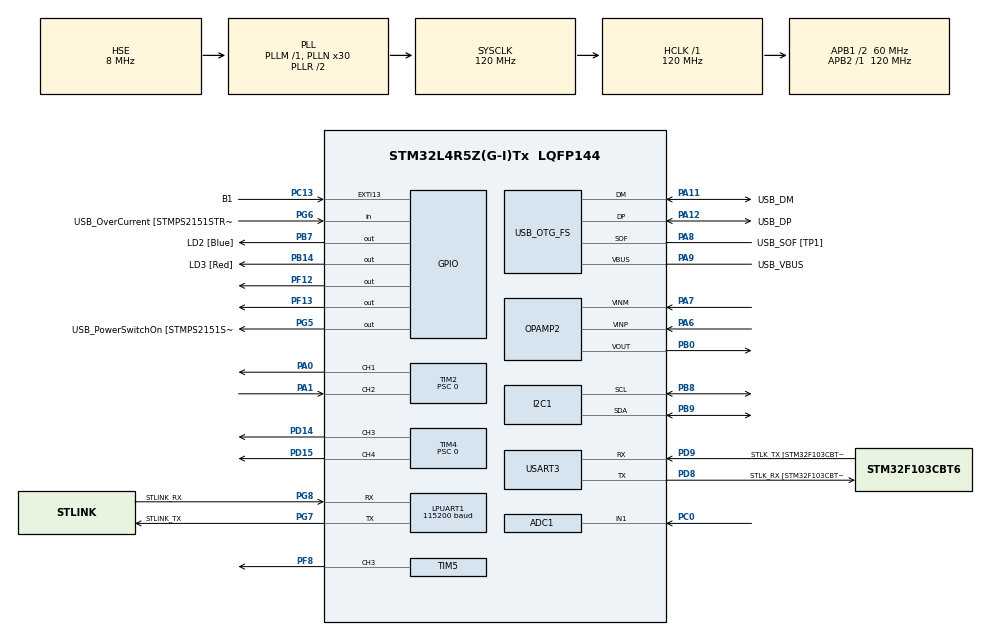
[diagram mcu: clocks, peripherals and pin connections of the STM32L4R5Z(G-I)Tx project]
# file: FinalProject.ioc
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ADC1.Channel-4\#ChannelRegularConversion=ADC_CHANNEL_1
ADC1.ClockPrescaler=ADC_CLOCK_ASYNC_DIV128
ADC1.ContinuousConvMode=DISABLE
ADC1.NbrOfConversionFlag=1
ADC1.OffsetNumber-4\#ChannelRegularConversion=ADC_OFFSET_NONE
ADC1.Rank-4\#ChannelRegularConversion=1
ADC1.SamplingTime-4\#ChannelRegularConversion=ADC_SAMPLETIME_12CYCLES_5
ADC1.master=1
Dma.ADC1.0.Direction=DMA_PERIPH_TO_MEMORY
Dma.ADC1.0.EventEnable=DISABLE
Dma.ADC1.0.Instance=DMA1_Channel1
Dma.ADC1.0.MemDataAlignment=DMA_MDATAALIGN_WORD
Dma.ADC1.0.MemInc=DMA_MINC_ENABLE
Dma.ADC1.0.Mode=DMA_CIRCULAR
Dma.ADC1.0.PeriphDataAlignment=DMA_PDATAALIGN_WORD
Dma.ADC1.0.PeriphInc=DMA_PINC_DISABLE
Dma.ADC1.0.Polarity=HAL_DMAMUX_REQUEST_GEN_RISING
Dma.ADC1.0.Priority=DMA_PRIORITY_LOW
Dma.ADC1.0.RequestNumber=1
Dma.ADC1.0.SignalID=NONE
Dma.ADC1.0.SyncEnable=DISABLE
Dma.ADC1.0.SyncPolarity=HAL_DMAMUX_SYNC_NO_EVENT
Dma.ADC1.0.SyncRequestNumber=1
Dma.ADC1.0.SyncSignalID=NONE
Dma.Request0=ADC1
I2C1.Timing=0x107075B0
LPUART1.BaudRate=115200
LPUART1.WordLength=UART_WORDLENGTH_8B
Mcu.Family=STM32L4
Mcu.Name=STM32L4R5Z(G-I)Tx
Mcu.Package=LQFP144
NVIC.DMA1_Channel1_IRQn=true\:0\:0\:false\:false\:true\:false\:true
NVIC.PriorityGroup=NVIC_PRIORITYGROUP_4
NVIC.TIM2_IRQn=true\:1\:0\:true\:false\:true\:true\:true
OPAMP2.PowerSupplyRange=OPAMP_POWERSUPPLY_HIGH
PA0.Signal=S_TIM2_CH1
PA1.Signal=S_TIM2_CH2
PA10.GPIO_Label=USB_ID
PA10.Signal=USB_OTG_FS_ID
PA11.GPIO_Label=USB_DM
PA11.Mode=Device_Only
PA11.Signal=USB_OTG_FS_DM
PA12.GPIO_Label=USB_DP
PA12.Mode=Device_Only
PA12.Signal=USB_OTG_FS_DP
PA13\ (JTMS/SWDIO).GPIO_Label=TMS
PA13\ (JTMS/SWDIO).Mode=Trace_Asynchronous_SW
PA13\ (JTMS/SWDIO).Signal=SYS_JTMS-SWDIO
PA14\ (JTCK/SWCLK).GPIO_Label=TCK
PA14\ (JTCK/SWCLK).Mode=Trace_Asynchronous_SW
PA14\ (JTCK/SWCLK).Signal=SYS_JTCK-SWCLK
PA6.Mode=Standalone
PA6.Signal=OPAMP2_VINP
PA7.Mode=Standalone
PA7.Signal=OPAMP2_VINM
PA8.GPIO_Label=USB_SOF [TP1]
PA8.Mode=Activate_SOF_FS
PA8.Signal=USB_OTG_FS_SOF
PA9.GPIO_Label=USB_VBUS
PA9.Mode=Activate_VBUS
PA9.Signal=USB_OTG_FS_VBUS
PB0.Mode=Standalone
PB0.Signal=OPAMP2_VOUT
PB10.Signal=S_TIM2_CH3
PB14.GPIO_Label=LD3 [Red]
PB14.Signal=GPIO_Output
PB3\ (JTDO/TRACESWO).GPIO_Label=SWO
PB3\ (JTDO/TRACESWO).Mode=Trace_Asynchronous_SW
PB3\ (JTDO/TRACESWO).Signal=SYS_JTDO-SWO
PB7.GPIO_Label=LD2 [Blue]
PB7.Signal=GPIO_Output
PB8.Mode=I2C
PB8.Signal=I2C1_SCL
PB9.Mode=I2C
PB9.Signal=I2C1_SDA
PC0.Signal=ADCx_IN1
PC13.GPIO_Label=B1
PC13.Signal=GPXTI13
PC14-OSC32_IN\ (PC14).Mode=LSE-External-Oscillator
PC14-OSC32_IN\ (PC14).Signal=RCC_OSC32_IN
PC15-OSC32_OUT\ (PC15).Mode=LSE-External-Oscillator
PC15-OSC32_OUT\ (PC15).Signal=RCC_OSC32_OUT
PD14.Signal=S_TIM4_CH3
PD15.Signal=S_TIM4_CH4
PD8.GPIO_Label=STLK_RX [STM32F103CBT6_PA3]
PD8.Mode=Asynchronous
PD8.Signal=USART3_TX
PD9.GPIO_Label=STLK_TX [STM32F103CBT6_PA2]
PD9.Mode=Asynchronous
PD9.Signal=USART3_RX
PF12.Signal=GPIO_Output
PF13.Signal=GPIO_Output
PF8.Signal=S_TIM5_CH3
PG5.GPIO_Label=USB_PowerSwitchOn [STMPS2151STR_EN]
PG5.Signal=GPIO_Output
PG6.GPIO_Label=USB_OverCurrent [STMPS2151STR_FAULT]
PG6.Signal=GPIO_Input
PG7.GPIO_Label=STLINK_TX
PG7.Mode=Asynchronous
PG7.Signal=LPUART1_TX
PG8.GPIO_Label=STLINK_RX
PG8.Mode=Asynchronous
PG8.Signal=LPUART1_RX
PH0-OSC_IN\ (PH0).Mode=HSE-External-Clock-Source
PH0-OSC_IN\ (PH0).Signal=RCC_OSC_IN
PH1-OSC_OUT\ (PH1).Signal=RCC_OSC_OUT
ProjectManager.HeapSize=0x200
ProjectManager.StackSize=0x400
ProjectManager.TargetToolchain=STM32CubeIDE
RCC.48MHZClocksFreq_Value=24000000
RCC.ADCCLockSelection=RCC_ADCCLKSOURCE_SYSCLK
RCC.ADCFreq_Value=120000000
RCC.AHBFreq_Value=120000000
RCC.APB1CLKDivider=RCC_HCLK_DIV2
RCC.APB1Freq_Value=60000000
RCC.APB1TimFreq_Value=120000000
RCC.APB2Freq_Value=120000000
RCC.APB2TimFreq_Value=120000000
RCC.CortexFreq_Value=120000000
RCC.HCLKFreq_Value=120000000
RCC.HSE_VALUE=8000000
RCC.HSI48_VALUE=48000000
RCC.HSI_VALUE=16000000
RCC.MSI_VALUE=4000000
RCC.PLLMUL=RCC_PLL_MUL9
RCC.PLLN=30
RCC.PLLSAI1N=12
RCC.PLLSourceVirtual=RCC_PLLSOURCE_HSE
RCC.PRESCALERUSB=RCC_USBCLKSOURCE_PLL_DIV1_5
RCC.SYSCLKFreq_VALUE=120000000
RCC.SYSCLKSource=RCC_SYSCLKSOURCE_PLLCLK
RCC.SYSCLKSourceVirtual=RCC_SYSCLKSOURCE_PLLCLK
RCC.USBFreq_Value=48000000
RCC.VCOOutputFreq_Value=240000000
SH.ADCx_IN1.0=ADC1_IN1,IN1-Single-Ended
SH.S_TIM2_CH1.0=TIM2_CH1,PWM Generation1 CH1
SH.S_TIM2_CH2.0=TIM2_CH2,Input_Capture2_from_TI2
SH.S_TIM2_CH3.0=TIM2_CH3
SH.S_TIM4_CH3.0=TIM4_CH3,PWM Generation3 CH3
SH.S_TIM4_CH4.0=TIM4_CH4,PWM Generation4 CH4
SH.S_TIM5_CH3.0=TIM5_CH3,PWM Generation3 CH3
TIM2.AutoReloadPreload=TIM_AUTORELOAD_PRELOAD_ENABLE
TIM2.Channel-Input_Capture2_from_TI2=TIM_CHANNEL_2
TIM2.Channel-PWM\ Generation1\ CH1=TIM_CHANNEL_1
TIM2.ICPolarity_CH2=TIM_INPUTCHANNELPOLARITY_BOTHEDGE
TIM2.Period=240000
TIM2.Prescaler=0
TIM2.Pulse-PWM\ Generation1\ CH1=40
TIM4.AutoReloadPreload=TIM_AUTORELOAD_PRELOAD_ENABLE
TIM4.Channel-PWM\ Generation3\ CH3=TIM_CHANNEL_3
TIM4.Channel-PWM\ Generation4\ CH4=TIM_CHANNEL_4
TIM4.Period=16
TIM4.Prescaler=0
TIM4.Pulse-PWM\ Generation3\ CH3=8
TIM4.Pulse-PWM\ Generation4\ CH4=8
TIM5.Channel-PWM\ Generation3\ CH3=TIM_CHANNEL_3
TIM5.Period=20000
TIM5.Pulse-PWM\ Generation3\ CH3=1500
USART3.VirtualMode-Asynchronous=VM_ASYNC
USB_OTG_FS.VirtualMode=Device_Only
VP_TIM2_VS_ClockSourceINT.Mode=Internal
VP_TIM4_VS_ClockSourceINT.Mode=Internal
VP_TIM5_VS_ClockSourceINT.Mode=Internal
board=NUCLEO-L4R5ZI

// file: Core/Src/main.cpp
/* USER CODE BEGIN Header */
/**
  ******************************************************************************
  * @file           : main.c
  * @brief          : Main program body
  ******************************************************************************
  * @attention
  *
  * <h2><center>&copy; Copyright (c) 2020 STMicroelectronics.
  * All rights reserved.</center></h2>
  *
  * This software component is licensed by ST under BSD 3-Clause license,
  * the "License"; You may not use this file except in compliance with the
  * License. You may obtain a copy of the License at:
  *                        opensource.org/licenses/BSD-3-Clause
  *
  ******************************************************************************
  */
/* USER CODE END Header */
#include "main.h"

/* USER CODE BEGIN Includes */

#include <iostream>
#include <stdio.h>

#include "robot.hpp"

/* USER CODE END Includes */

ADC_HandleTypeDef hadc1;
DMA_HandleTypeDef hdma_adc1;

I2C_HandleTypeDef hi2c1;

UART_HandleTypeDef hlpuart1;
UART_HandleTypeDef huart1;
UART_HandleTypeDef huart3;

OPAMP_HandleTypeDef hopamp2;

TIM_HandleTypeDef htim2;
TIM_HandleTypeDef htim4;
TIM_HandleTypeDef htim5;

PCD_HandleTypeDef hpcd_USB_OTG_FS;

/* USER CODE BEGIN PV */
uint32_t AD_RES = 0;

/* USER CODE END PV */

void SystemClock_Config(void);
static void MX_GPIO_Init(void);
static void MX_DMA_Init(void);
static void MX_LPUART1_UART_Init(void);
static void MX_USART3_UART_Init(void);
static void MX_USB_OTG_FS_PCD_Init(void);
static void MX_TIM4_Init(void);
static void MX_TIM5_Init(void);
static void MX_TIM2_Init(void);
static void MX_ADC1_Init(void);
static void MX_OPAMP2_Init(void);
static void MX_I2C1_Init(void);

/* USER CODE BEGIN 0 */

double distance;

extern "C"
void HAL_TIM_IC_CaptureCallback(TIM_HandleTypeDef *htim) {
	static uint32_t last_cnt = 0;
	static uint32_t second_cnt = 0;

	second_cnt = HAL_TIM_ReadCapturedValue(htim, TIM_CHANNEL_2);

	double difference;

	if (second_cnt >= last_cnt) {
		difference = second_cnt - last_cnt;
	}
	else {
		difference = (htim->Instance->ARR - last_cnt) + second_cnt;
	}

	double distance_temp = (difference * 0.25) / 58;

	if (distance_temp <= 400) {
		distance = distance_temp;
		//std::cout << distance << " cm\r\n";
	}

	last_cnt = second_cnt;
}

/* USER CODE END 0 */

int main(void)
{

  /* MCU Configuration--------------------------------------------------------*/

  /* Reset of all peripherals, Initializes the Flash interface and the Systick. */
  HAL_Init();

  /* Configure the system clock */
  SystemClock_Config();

  /* Initialize all configured peripherals */
  MX_GPIO_Init();
  MX_DMA_Init();
  MX_LPUART1_UART_Init();
  MX_USART3_UART_Init();
  MX_USB_OTG_FS_PCD_Init();
  MX_TIM4_Init();
  MX_TIM2_Init();
  MX_TIM5_Init();
  MX_ADC1_Init();
  MX_OPAMP2_Init();
  MX_I2C1_Init();
  /* USER CODE BEGIN 2 */

  HAL_ADCEx_Calibration_Start(&hadc1, 0);

  HAL_TIM_PWM_Start(&htim4, TIM_CHANNEL_4);
  HAL_TIM_PWM_Start(&htim4, TIM_CHANNEL_3);
  HAL_TIM_PWM_Start(&htim5, TIM_CHANNEL_3);
  HAL_TIM_PWM_Start(&htim2, TIM_CHANNEL_1);

  HAL_TIM_IC_Start_IT(&htim2, TIM_CHANNEL_2);
  __HAL_TIM_ENABLE_IT(&htim2, TIM_IT_CC2);

  Movement move_handler(&htim4);

  Scanner scanner(&htim5, &hadc1, &distance, &AD_RES);

  move_handler.move_stop();
  Robot robot(move_handler, scanner, &hi2c1);

  HAL_OPAMP_Start(&hopamp2);

  /* USER CODE END 2 */

  /* Infinite loop */
  /* USER CODE BEGIN WHILE */

  if (HAL_GPIO_ReadPin(GPIOC, GPIO_PIN_13)) {
	  robot.calibrate_mag();
  }

  robot.run();

  while (1)
  {
	  // Compass Demo
	  robot.target_heading(90, 10);
    /* USER CODE END WHILE */

  }
}

void SystemClock_Config(void)
{
  RCC_OscInitTypeDef RCC_OscInitStruct = {0};
  RCC_ClkInitTypeDef RCC_ClkInitStruct = {0};
  RCC_PeriphCLKInitTypeDef PeriphClkInit = {0};

  /** Configure the main internal regulator output voltage
  */
  if (HAL_PWREx_ControlVoltageScaling(PWR_REGULATOR_VOLTAGE_SCALE1_BOOST) != HAL_OK)
  {
    Error_Handler();
  }
  /** Initializes the RCC Oscillators according to the specified parameters
  * in the RCC_OscInitTypeDef structure.
  */
  RCC_OscInitStruct.OscillatorType = RCC_OSCILLATORTYPE_HSE;
  RCC_OscInitStruct.HSEState = RCC_HSE_BYPASS;
  RCC_OscInitStruct.PLL.PLLState = RCC_PLL_ON;
  RCC_OscInitStruct.PLL.PLLSource = RCC_PLLSOURCE_HSE;
  RCC_OscInitStruct.PLL.PLLM = 1;
  RCC_OscInitStruct.PLL.PLLN = 30;
  RCC_OscInitStruct.PLL.PLLP = RCC_PLLP_DIV2;
  RCC_OscInitStruct.PLL.PLLQ = RCC_PLLQ_DIV2;
  RCC_OscInitStruct.PLL.PLLR = RCC_PLLR_DIV2;
  if (HAL_RCC_OscConfig(&RCC_OscInitStruct) != HAL_OK)
  {
    Error_Handler();
  }
  /** Initializes the CPU, AHB and APB buses clocks
  */
  RCC_ClkInitStruct.ClockType = RCC_CLOCKTYPE_HCLK|RCC_CLOCKTYPE_SYSCLK
                              |RCC_CLOCKTYPE_PCLK1|RCC_CLOCKTYPE_PCLK2;
  RCC_ClkInitStruct.SYSCLKSource = RCC_SYSCLKSOURCE_PLLCLK;
  RCC_ClkInitStruct.AHBCLKDivider = RCC_SYSCLK_DIV1;
  RCC_ClkInitStruct.APB1CLKDivider = RCC_HCLK_DIV2;
  RCC_ClkInitStruct.APB2CLKDivider = RCC_HCLK_DIV1;

  if (HAL_RCC_ClockConfig(&RCC_ClkInitStruct, FLASH_LATENCY_5) != HAL_OK)
  {
    Error_Handler();
  }
  PeriphClkInit.PeriphClockSelection = RCC_PERIPHCLK_USART3|RCC_PERIPHCLK_LPUART1
                              |RCC_PERIPHCLK_USB|RCC_PERIPHCLK_ADC;
  PeriphClkInit.Usart3ClockSelection = RCC_USART3CLKSOURCE_PCLK1;
  PeriphClkInit.Lpuart1ClockSelection = RCC_LPUART1CLKSOURCE_PCLK1;
  PeriphClkInit.AdcClockSelection = RCC_ADCCLKSOURCE_SYSCLK;
  PeriphClkInit.UsbClockSelection = RCC_USBCLKSOURCE_PLLSAI1;
  PeriphClkInit.PLLSAI1.PLLSAI1Source = RCC_PLLSOURCE_HSE;
  PeriphClkInit.PLLSAI1.PLLSAI1M = 1;
  PeriphClkInit.PLLSAI1.PLLSAI1N = 12;
  PeriphClkInit.PLLSAI1.PLLSAI1P = RCC_PLLP_DIV2;
  PeriphClkInit.PLLSAI1.PLLSAI1Q = RCC_PLLQ_DIV2;
  PeriphClkInit.PLLSAI1.PLLSAI1R = RCC_PLLR_DIV2;
  PeriphClkInit.PLLSAI1.PLLSAI1ClockOut = RCC_PLLSAI1_48M2CLK;
  if (HAL_RCCEx_PeriphCLKConfig(&PeriphClkInit) != HAL_OK)
  {
    Error_Handler();
  }
}

static void MX_ADC1_Init(void)
{

  ADC_ChannelConfTypeDef sConfig = {0};

  /** Common config
  */
  hadc1.Instance = ADC1;
  hadc1.Init.ClockPrescaler = ADC_CLOCK_ASYNC_DIV128;
  hadc1.Init.Resolution = ADC_RESOLUTION_12B;
  hadc1.Init.DataAlign = ADC_DATAALIGN_RIGHT;
  hadc1.Init.ScanConvMode = ADC_SCAN_DISABLE;
  hadc1.Init.EOCSelection = ADC_EOC_SINGLE_CONV;
  hadc1.Init.LowPowerAutoWait = DISABLE;
  hadc1.Init.ContinuousConvMode = DISABLE;
  hadc1.Init.NbrOfConversion = 1;
  hadc1.Init.DiscontinuousConvMode = DISABLE;
  hadc1.Init.ExternalTrigConv = ADC_SOFTWARE_START;
  hadc1.Init.ExternalTrigConvEdge = ADC_EXTERNALTRIGCONVEDGE_NONE;
  hadc1.Init.DMAContinuousRequests = DISABLE;
  hadc1.Init.Overrun = ADC_OVR_DATA_PRESERVED;
  hadc1.Init.OversamplingMode = DISABLE;
  if (HAL_ADC_Init(&hadc1) != HAL_OK)
  {
    Error_Handler();
  }
  /** Configure Regular Channel
  */
  sConfig.Channel = ADC_CHANNEL_1;
  sConfig.Rank = ADC_REGULAR_RANK_1;
  sConfig.SamplingTime = ADC_SAMPLETIME_92CYCLES_5;
  sConfig.SingleDiff = ADC_SINGLE_ENDED;
  sConfig.OffsetNumber = ADC_OFFSET_NONE;
  sConfig.Offset = 0;
  if (HAL_ADC_ConfigChannel(&hadc1, &sConfig) != HAL_OK)
  {
    Error_Handler();
  }

}

static void MX_I2C1_Init(void)
{

  hi2c1.Instance = I2C1;
  hi2c1.Init.Timing = 0x107075B0;
  hi2c1.Init.OwnAddress1 = 0;
  hi2c1.Init.AddressingMode = I2C_ADDRESSINGMODE_7BIT;
  hi2c1.Init.DualAddressMode = I2C_DUALADDRESS_DISABLE;
  hi2c1.Init.OwnAddress2 = 0;
  hi2c1.Init.OwnAddress2Masks = I2C_OA2_NOMASK;
  hi2c1.Init.GeneralCallMode = I2C_GENERALCALL_DISABLE;
  hi2c1.Init.NoStretchMode = I2C_NOSTRETCH_DISABLE;
  if (HAL_I2C_Init(&hi2c1) != HAL_OK)
  {
    Error_Handler();
  }
  /** Configure Analogue filter
  */
  if (HAL_I2CEx_ConfigAnalogFilter(&hi2c1, I2C_ANALOGFILTER_ENABLE) != HAL_OK)
  {
    Error_Handler();
  }
  /** Configure Digital filter
  */
  if (HAL_I2CEx_ConfigDigitalFilter(&hi2c1, 0) != HAL_OK)
  {
    Error_Handler();
  }

}

static void MX_LPUART1_UART_Init(void)
{

  hlpuart1.Instance = LPUART1;
  hlpuart1.Init.BaudRate = 115200;
  hlpuart1.Init.WordLength = UART_WORDLENGTH_8B;
  hlpuart1.Init.StopBits = UART_STOPBITS_1;
  hlpuart1.Init.Parity = UART_PARITY_NONE;
  hlpuart1.Init.Mode = UART_MODE_TX_RX;
  hlpuart1.Init.HwFlowCtl = UART_HWCONTROL_NONE;
  hlpuart1.Init.OneBitSampling = UART_ONE_BIT_SAMPLE_DISABLE;
  hlpuart1.Init.ClockPrescaler = UART_PRESCALER_DIV1;
  hlpuart1.AdvancedInit.AdvFeatureInit = UART_ADVFEATURE_NO_INIT;
  hlpuart1.FifoMode = UART_FIFOMODE_DISABLE;
  if (HAL_UART_Init(&hlpuart1) != HAL_OK)
  {
    Error_Handler();
  }
  if (HAL_UARTEx_SetTxFifoThreshold(&hlpuart1, UART_TXFIFO_THRESHOLD_1_8) != HAL_OK)
  {
    Error_Handler();
  }
  if (HAL_UARTEx_SetRxFifoThreshold(&hlpuart1, UART_RXFIFO_THRESHOLD_1_8) != HAL_OK)
  {
    Error_Handler();
  }
  if (HAL_UARTEx_DisableFifoMode(&huart1) != HAL_OK)
  {
    Error_Handler();
  }

}

static void MX_USART3_UART_Init(void)
{

  huart3.Instance = USART3;
  huart3.Init.BaudRate = 115200;
  huart3.Init.WordLength = UART_WORDLENGTH_8B;
  huart3.Init.StopBits = UART_STOPBITS_1;
  huart3.Init.Parity = UART_PARITY_NONE;
  huart3.Init.Mode = UART_MODE_TX_RX;
  huart3.Init.HwFlowCtl = UART_HWCONTROL_NONE;
  huart3.Init.OverSampling = UART_OVERSAMPLING_16;
  huart3.Init.OneBitSampling = UART_ONE_BIT_SAMPLE_DISABLE;
  huart3.Init.ClockPrescaler = UART_PRESCALER_DIV1;
  huart3.AdvancedInit.AdvFeatureInit = UART_ADVFEATURE_NO_INIT;
  if (HAL_UART_Init(&huart3) != HAL_OK)
  {
    Error_Handler();
  }
  if (HAL_UARTEx_SetTxFifoThreshold(&huart3, UART_TXFIFO_THRESHOLD_1_8) != HAL_OK)
  {
    Error_Handler();
  }
  if (HAL_UARTEx_SetRxFifoThreshold(&huart3, UART_RXFIFO_THRESHOLD_1_8) != HAL_OK)
  {
    Error_Handler();
  }
  if (HAL_UARTEx_DisableFifoMode(&huart3) != HAL_OK)
  {
    Error_Handler();
  }

}

static void MX_OPAMP2_Init(void)
{

  hopamp2.Instance = OPAMP2;
  hopamp2.Init.PowerSupplyRange = OPAMP_POWERSUPPLY_HIGH;
  hopamp2.Init.Mode = OPAMP_STANDALONE_MODE;
  hopamp2.Init.NonInvertingInput = OPAMP_NONINVERTINGINPUT_IO0;
  hopamp2.Init.InvertingInput = OPAMP_INVERTINGINPUT_IO0;
  hopamp2.Init.PowerMode = OPAMP_POWERMODE_NORMAL;
  hopamp2.Init.UserTrimming = OPAMP_TRIMMING_FACTORY;
  if (HAL_OPAMP_Init(&hopamp2) != HAL_OK)
  {
    Error_Handler();
  }

}

static void MX_TIM2_Init(void)
{

  TIM_ClockConfigTypeDef sClockSourceConfig = {0};
  TIM_MasterConfigTypeDef sMasterConfig = {0};
  TIM_OC_InitTypeDef sConfigOC = {0};
  TIM_IC_InitTypeDef sConfigIC = {0};

  htim2.Instance = TIM2;
  htim2.Init.Prescaler = 0;
  htim2.Init.CounterMode = TIM_COUNTERMODE_UP;
  htim2.Init.Period = 240000;
  htim2.Init.ClockDivision = TIM_CLOCKDIVISION_DIV1;
  htim2.Init.AutoReloadPreload = TIM_AUTORELOAD_PRELOAD_ENABLE;
  if (HAL_TIM_Base_Init(&htim2) != HAL_OK)
  {
    Error_Handler();
  }
  sClockSourceConfig.ClockSource = TIM_CLOCKSOURCE_INTERNAL;
  if (HAL_TIM_ConfigClockSource(&htim2, &sClockSourceConfig) != HAL_OK)
  {
    Error_Handler();
  }
  if (HAL_TIM_PWM_Init(&htim2) != HAL_OK)
  {
    Error_Handler();
  }
  if (HAL_TIM_IC_Init(&htim2) != HAL_OK)
  {
    Error_Handler();
  }
  sMasterConfig.MasterOutputTrigger = TIM_TRGO_RESET;
  sMasterConfig.MasterSlaveMode = TIM_MASTERSLAVEMODE_DISABLE;
  if (HAL_TIMEx_MasterConfigSynchronization(&htim2, &sMasterConfig) != HAL_OK)
  {
    Error_Handler();
  }
  sConfigOC.OCMode = TIM_OCMODE_PWM1;
  sConfigOC.Pulse = 40;
  sConfigOC.OCPolarity = TIM_OCPOLARITY_HIGH;
  sConfigOC.OCFastMode = TIM_OCFAST_DISABLE;
  if (HAL_TIM_PWM_ConfigChannel(&htim2, &sConfigOC, TIM_CHANNEL_1) != HAL_OK)
  {
    Error_Handler();
  }
  sConfigIC.ICPolarity = TIM_INPUTCHANNELPOLARITY_BOTHEDGE;
  sConfigIC.ICSelection = TIM_ICSELECTION_DIRECTTI;
  sConfigIC.ICPrescaler = TIM_ICPSC_DIV1;
  sConfigIC.ICFilter = 0;
  if (HAL_TIM_IC_ConfigChannel(&htim2, &sConfigIC, TIM_CHANNEL_2) != HAL_OK)
  {
    Error_Handler();
  }
  HAL_TIM_MspPostInit(&htim2);

}

static void MX_TIM4_Init(void)
{

  TIM_ClockConfigTypeDef sClockSourceConfig = {0};
  TIM_MasterConfigTypeDef sMasterConfig = {0};
  TIM_OC_InitTypeDef sConfigOC = {0};

  htim4.Instance = TIM4;
  htim4.Init.Prescaler = 0;
  htim4.Init.CounterMode = TIM_COUNTERMODE_UP;
  htim4.Init.Period = 16;
  htim4.Init.ClockDivision = TIM_CLOCKDIVISION_DIV1;
  htim4.Init.AutoReloadPreload = TIM_AUTORELOAD_PRELOAD_ENABLE;
  if (HAL_TIM_Base_Init(&htim4) != HAL_OK)
  {
    Error_Handler();
  }
  sClockSourceConfig.ClockSource = TIM_CLOCKSOURCE_INTERNAL;
  if (HAL_TIM_ConfigClockSource(&htim4, &sClockSourceConfig) != HAL_OK)
  {
    Error_Handler();
  }
  if (HAL_TIM_PWM_Init(&htim4) != HAL_OK)
  {
    Error_Handler();
  }
  sMasterConfig.MasterOutputTrigger = TIM_TRGO_RESET;
  sMasterConfig.MasterSlaveMode = TIM_MASTERSLAVEMODE_DISABLE;
  if (HAL_TIMEx_MasterConfigSynchronization(&htim4, &sMasterConfig) != HAL_OK)
  {
    Error_Handler();
  }
  sConfigOC.OCMode = TIM_OCMODE_PWM1;
  sConfigOC.Pulse = 8;
  sConfigOC.OCPolarity = TIM_OCPOLARITY_HIGH;
  sConfigOC.OCFastMode = TIM_OCFAST_DISABLE;
  if (HAL_TIM_PWM_ConfigChannel(&htim4, &sConfigOC, TIM_CHANNEL_3) != HAL_OK)
  {
    Error_Handler();
  }
  if (HAL_TIM_PWM_ConfigChannel(&htim4, &sConfigOC, TIM_CHANNEL_4) != HAL_OK)
  {
    Error_Handler();
  }
  HAL_TIM_MspPostInit(&htim4);

}

static void MX_TIM5_Init(void)
{

  TIM_ClockConfigTypeDef sClockSourceConfig = {0};
  TIM_MasterConfigTypeDef sMasterConfig = {0};
  TIM_OC_InitTypeDef sConfigOC = {0};

  htim5.Instance = TIM5;
  htim5.Init.Prescaler = 3;
  htim5.Init.CounterMode = TIM_COUNTERMODE_UP;
  htim5.Init.Period = 20000;
  htim5.Init.ClockDivision = TIM_CLOCKDIVISION_DIV1;
  htim5.Init.AutoReloadPreload = TIM_AUTORELOAD_PRELOAD_DISABLE;
  if (HAL_TIM_Base_Init(&htim5) != HAL_OK)
  {
    Error_Handler();
  }
  sClockSourceConfig.ClockSource = TIM_CLOCKSOURCE_INTERNAL;
  if (HAL_TIM_ConfigClockSource(&htim5, &sClockSourceConfig) != HAL_OK)
  {
    Error_Handler();
  }
  if (HAL_TIM_PWM_Init(&htim5) != HAL_OK)
  {
    Error_Handler();
  }
  sMasterConfig.MasterOutputTrigger = TIM_TRGO_RESET;
  sMasterConfig.MasterSlaveMode = TIM_MASTERSLAVEMODE_DISABLE;
  if (HAL_TIMEx_MasterConfigSynchronization(&htim5, &sMasterConfig) != HAL_OK)
  {
    Error_Handler();
  }
  sConfigOC.OCMode = TIM_OCMODE_PWM1;
  sConfigOC.Pulse = 1500;
  sConfigOC.OCPolarity = TIM_OCPOLARITY_HIGH;
  sConfigOC.OCFastMode = TIM_OCFAST_DISABLE;
  if (HAL_TIM_PWM_ConfigChannel(&htim5, &sConfigOC, TIM_CHANNEL_3) != HAL_OK)
  {
    Error_Handler();
  }
  HAL_TIM_MspPostInit(&htim5);

}

static void MX_USB_OTG_FS_PCD_Init(void)
{

  hpcd_USB_OTG_FS.Instance = USB_OTG_FS;
  hpcd_USB_OTG_FS.Init.dev_endpoints = 6;
  hpcd_USB_OTG_FS.Init.phy_itface = PCD_PHY_EMBEDDED;
  hpcd_USB_OTG_FS.Init.Sof_enable = ENABLE;
  hpcd_USB_OTG_FS.Init.low_power_enable = DISABLE;
  hpcd_USB_OTG_FS.Init.lpm_enable = DISABLE;
  hpcd_USB_OTG_FS.Init.battery_charging_enable = ENABLE;
  hpcd_USB_OTG_FS.Init.use_dedicated_ep1 = DISABLE;
  hpcd_USB_OTG_FS.Init.vbus_sensing_enable = ENABLE;
  if (HAL_PCD_Init(&hpcd_USB_OTG_FS) != HAL_OK)
  {
    Error_Handler();
  }

}

static void MX_DMA_Init(void)
{

  /* DMA controller clock enable */
  __HAL_RCC_DMAMUX1_CLK_ENABLE();
  __HAL_RCC_DMA1_CLK_ENABLE();

  /* DMA interrupt init */
  /* DMA1_Channel1_IRQn interrupt configuration */
  HAL_NVIC_SetPriority(DMA1_Channel1_IRQn, 0, 0);
  HAL_NVIC_EnableIRQ(DMA1_Channel1_IRQn);
  /* DMAMUX1_OVR_IRQn interrupt configuration */
  HAL_NVIC_SetPriority(DMAMUX1_OVR_IRQn, 0, 0);
  HAL_NVIC_EnableIRQ(DMAMUX1_OVR_IRQn);

}

static void MX_GPIO_Init(void)
{
  GPIO_InitTypeDef GPIO_InitStruct = {0};

  /* GPIO Ports Clock Enable */
  __HAL_RCC_GPIOC_CLK_ENABLE();
  __HAL_RCC_GPIOH_CLK_ENABLE();
  __HAL_RCC_GPIOF_CLK_ENABLE();
  __HAL_RCC_GPIOB_CLK_ENABLE();
  __HAL_RCC_GPIOD_CLK_ENABLE();
  __HAL_RCC_GPIOG_CLK_ENABLE();
  HAL_PWREx_EnableVddIO2();
  __HAL_RCC_GPIOA_CLK_ENABLE();

  /*Configure GPIO pin Output Level */
  HAL_GPIO_WritePin(GPIOF, GPIO_PIN_12|GPIO_PIN_13, GPIO_PIN_RESET);

  /*Configure GPIO pin Output Level */
  HAL_GPIO_WritePin(GPIOB, LD3_Pin|LD2_Pin, GPIO_PIN_RESET);

  /*Configure GPIO pin Output Level */
  HAL_GPIO_WritePin(USB_PowerSwitchOn_GPIO_Port, USB_PowerSwitchOn_Pin, GPIO_PIN_RESET);

  /*Configure GPIO pin : B1_Pin */
  GPIO_InitStruct.Pin = B1_Pin;
  GPIO_InitStruct.Mode = GPIO_MODE_IT_RISING;
  GPIO_InitStruct.Pull = GPIO_NOPULL;
  HAL_GPIO_Init(B1_GPIO_Port, &GPIO_InitStruct);

  /*Configure GPIO pins : PF12 PF13 */
  GPIO_InitStruct.Pin = GPIO_PIN_12|GPIO_PIN_13;
  GPIO_InitStruct.Mode = GPIO_MODE_OUTPUT_PP;
  GPIO_InitStruct.Pull = GPIO_NOPULL;
  GPIO_InitStruct.Speed = GPIO_SPEED_FREQ_LOW;
  HAL_GPIO_Init(GPIOF, &GPIO_InitStruct);

  /*Configure GPIO pins : LD3_Pin LD2_Pin */
  GPIO_InitStruct.Pin = LD3_Pin|LD2_Pin;
  GPIO_InitStruct.Mode = GPIO_MODE_OUTPUT_PP;
  GPIO_InitStruct.Pull = GPIO_NOPULL;
  GPIO_InitStruct.Speed = GPIO_SPEED_FREQ_LOW;
  HAL_GPIO_Init(GPIOB, &GPIO_InitStruct);

  /*Configure GPIO pin : USB_PowerSwitchOn_Pin */
  GPIO_InitStruct.Pin = USB_PowerSwitchOn_Pin;
  GPIO_InitStruct.Mode = GPIO_MODE_OUTPUT_PP;
  GPIO_InitStruct.Pull = GPIO_NOPULL;
  GPIO_InitStruct.Speed = GPIO_SPEED_FREQ_LOW;
  HAL_GPIO_Init(USB_PowerSwitchOn_GPIO_Port, &GPIO_InitStruct);

  /*Configure GPIO pin : USB_OverCurrent_Pin */
  GPIO_InitStruct.Pin = USB_OverCurrent_Pin;
  GPIO_InitStruct.Mode = GPIO_MODE_INPUT;
  GPIO_InitStruct.Pull = GPIO_NOPULL;
  HAL_GPIO_Init(USB_OverCurrent_GPIO_Port, &GPIO_InitStruct);

}

/* USER CODE BEGIN 4 */

#ifdef __GNUC__
#define PUTCHAR_PROTOTYPE int __io_putchar(int ch)
#else
	#define PUTCHAR_PROTOTYPE int fputc(int ch, FILE *f)
#endif /* __GNUC__ */
extern "C"
PUTCHAR_PROTOTYPE
{
	HAL_UART_Transmit(&hlpuart1, (uint8_t*) &ch, 1, 0xFFFF);
	return ch;
}

/* USER CODE END 4 */

void Error_Handler(void)
{
}

/************************ (C) COPYRIGHT STMicroelectronics *****END OF FILE****/
